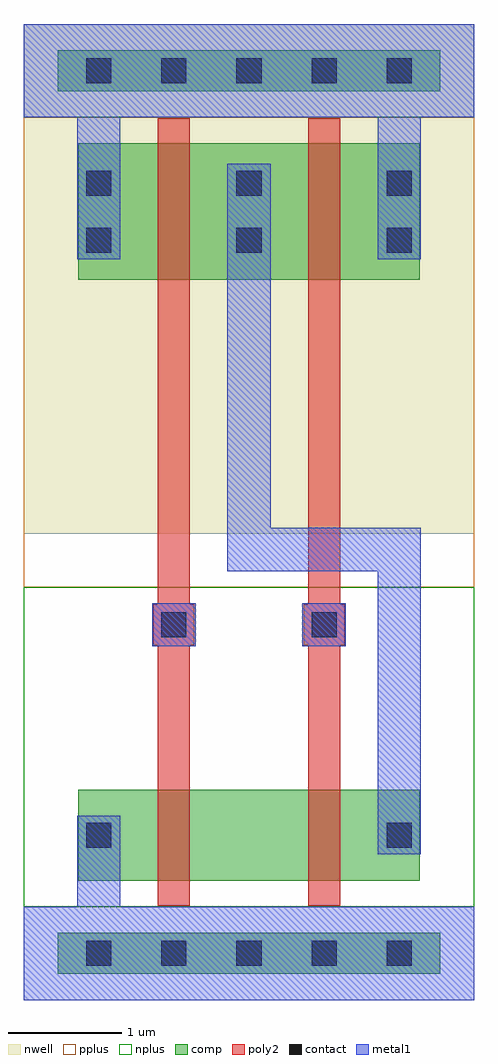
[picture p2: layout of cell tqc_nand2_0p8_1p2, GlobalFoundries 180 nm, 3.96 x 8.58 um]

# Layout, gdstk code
import gdstk
lib = gdstk.Library(unit=1e-6, precision=1e-09)
def R(c, l, rs):  # rectangles x0, y0, x1, y1
    for r in rs: c.add(gdstk.rectangle(r[:2], r[2:], *l))
def A(c, l, x, y, w, h, nx, ny, dx, dy):  # array of equal rectangles
    R(c, l, [(x+i*dx, y+j*dy, x+i*dx+w, y+j*dy+h) for i in range(nx) for j in range(ny)])
nwell = (21, 0)
comp = (22, 0)
poly2 = (30, 0)
pplus = (31, 0)
nplus = (32, 0)
contact = (33, 0)
metal1 = (34, 0)

tqc_nand2_0p8_1p2 = lib.new_cell('tqc_nand2_0p8_1p2')
R(tqc_nand2_0p8_1p2, nwell, [(0,4.1,3.96,8.58)])
R(tqc_nand2_0p8_1p2, comp, [(0.3,0.23,3.66,0.59), (0.48,1.05,3.48,1.85), (0.48,6.33,3.48,7.53), (0.3,7.99,3.66,8.35)])
R(tqc_nand2_0p8_1p2, poly2, [(1.18,0.83,1.46,7.75), (2.5,0.83,2.78,7.75), (1.14,3.12,1.5,3.48), (2.46,3.12,2.82,3.48)])
R(tqc_nand2_0p8_1p2, pplus, [(0,0,3.96,0.82), (0,3.63,3.96,7.76)])
R(tqc_nand2_0p8_1p2, nplus, [(0,0.82,3.96,3.63), (0,7.76,3.96,8.58)])
A(tqc_nand2_0p8_1p2, contact, 0.55, 0.3, 0.22, 0.22, 5, 2, 0.66, 7.76)
A(tqc_nand2_0p8_1p2, contact, 0.55, 6.57, 0.22, 0.22, 3, 2, 1.32, 0.5)
R(tqc_nand2_0p8_1p2, contact, [(0.55,1.34,0.77,1.56), (3.19,1.34,3.41,1.56), (1.21,3.19,1.43,3.41), (2.53,3.19,2.75,3.41)])
R(tqc_nand2_0p8_1p2, metal1, [(0,0,3.96,0.82), (0.47,0,0.85,1.62), (3.11,1.28,3.49,1.62), (3.11,1.52,3.49,4.15), (1.13,3.11,1.51,3.49), (2.45,3.11,2.83,3.49), (1.79,3.77,3.49,4.15), (1.79,3.77,2.17,6.61), (0.47,6.51,0.85,8.58), (1.79,6.51,2.17,7.35), (3.11,6.51,3.49,8.58), (0,7.76,3.96,8.58)])

lib.write_gds('tqc_nand2_0p8_1p2.gds')
